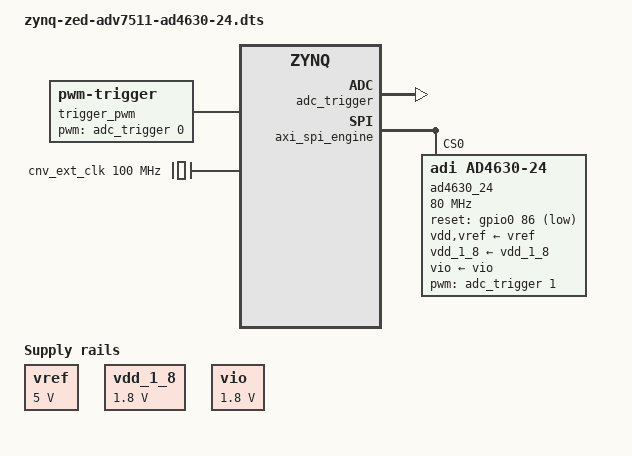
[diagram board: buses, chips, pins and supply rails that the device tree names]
// SPDX-License-Identifier: GPL-2.0
/*
 * Analog Devices AD4630-24
 *
 * hdl_project: <ad4630_fmc/zed>
 * board_revision: <B>
 *
 * Copyright (C) 2022 Analog Devices Inc.
 */
/dts-v1/;

#include "zynq-zed.dtsi"
#include "zynq-zed-adv7511.dtsi"
#include <dt-bindings/gpio/gpio.h>
#include <dt-bindings/pwm/pwm.h>

/ {
	vref: regulator-vref {
		compatible = "regulator-fixed";
		regulator-name = "fixed-supply";
		regulator-min-microvolt = <5000000>;
		regulator-max-microvolt = <5000000>;
		regulator-always-on;
	};

	vdd_1_8: regulator-vdd-1-8 {
		compatible = "regulator-fixed";
		regulator-name = "fixed-supply";
		regulator-min-microvolt = <1800000>;
		regulator-max-microvolt = <1800000>;
		regulator-always-on;
	};

	vio: regulator-vio {
		compatible = "regulator-fixed";
		regulator-name = "fixed-supply";
		regulator-min-microvolt = <1800000>;
		regulator-max-microvolt = <1800000>;
		regulator-always-on;
	};

	trigger_pwm: adc-pwm-trigger {
		compatible = "pwm-trigger";
		#trigger-source-cells = <0>;
		pwms = <&adc_trigger 0 1000000 0>;
	};

	clocks {
		cnv_ext_clk: ext-clk {
			#clock-cells = <0x0>;
			compatible = "fixed-clock";
			clock-frequency = <100000000>;
			clock-output-names = "cnv_ext_clk";
		};
	};
};

&fpga_axi {
	adc_trigger: pwm@44b00000 {
		compatible = "adi,axi-pwmgen-2.00.a";
		reg = <0x44b00000 0x1000>;
		#pwm-cells = <3>;
		clocks = <&clkc 15>, <&cnv_ext_clk>;
		clock-names = "axi", "ext";
	};

	rx_dma: dma-controller@44a30000 {
		compatible = "adi,axi-dmac-1.00.a";
		reg = <0x44a30000 0x1000>;
		#dma-cells = <1>;
		interrupts = <0 57 IRQ_TYPE_LEVEL_HIGH>;
		clocks = <&clkc 15>;
	};

	spi_clk: clock-controller@44a70000 {
		compatible = "adi,axi-clkgen-2.00.a";
		reg = <0x44a70000 0x10000>;
		#clock-cells = <0>;
		clocks = <&clkc 15>, <&clkc 15>;
		clock-names = "clkin1", "s_axi_aclk";
		clock-output-names = "spi_clk";
	};

	axi_spi_engine: spi@44a00000 {
		compatible = "adi,axi-spi-engine-1.00.a";
		reg = <0x44a00000 0x1FF>;
		interrupt-parent = <&intc>;
		interrupts = <0 56 IRQ_TYPE_LEVEL_HIGH>;
		clocks = <&clkc 15>, <&spi_clk>;
		clock-names = "s_axi_aclk", "spi_clk";

		dmas = <&rx_dma 0>;
		dma-names = "offload0-rx";
		trigger-sources = <&trigger_pwm>;

		#address-cells = <0x1>;
		#size-cells = <0x0>;

		ad4630_24: ad4630-24@0 {
			compatible = "adi,ad4630-24";
			reg = <0>;
			spi-max-frequency = <80000000>;
			vdd-supply = <&vref>;
			vdd_1_8-supply = <&vdd_1_8>;
			vio-supply = <&vio>;
			vref-supply = <&vref>;
			pwm-names = "cnv";
			pwms = <&adc_trigger 1 1000000 0>;
			reset-gpios = <&gpio0 86 GPIO_ACTIVE_LOW>;
			adi,lane-mode = <1>;
			adi,clock-mode = <0>;
			adi,out-data-mode = <0>;
		};
	};
};
